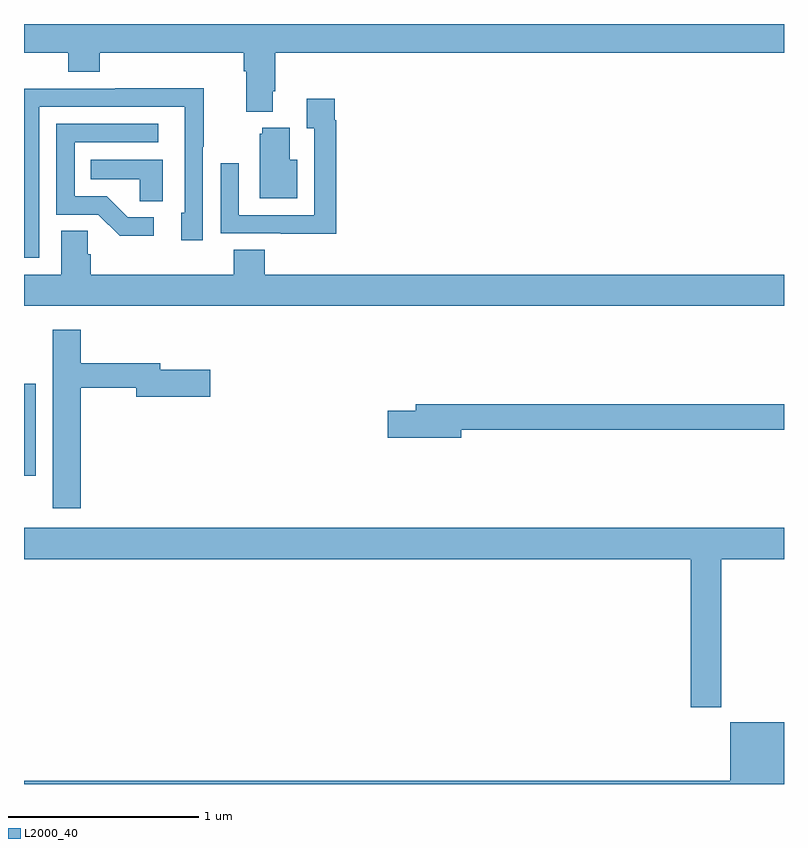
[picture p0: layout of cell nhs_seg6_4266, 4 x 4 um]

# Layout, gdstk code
import gdstk
lib = gdstk.Library(unit=1e-6, precision=1e-09)
def R(c, l, rs):  # rectangles x0, y0, x1, y1
    for r in rs: c.add(gdstk.rectangle(r[:2], r[2:], *l))
def P(c, l, *ps):  # polygons
    for p in ps: c.add(gdstk.Polygon(p, *l))
L2000_40 = (2000, 40)

nhs_seg6_4266 = lib.new_cell('nhs_seg6_4266')
R(nhs_seg6_4266, L2000_40, [(363,933.123,363.063,933.607)])
P(nhs_seg6_4266, L2000_40, [(364.309,935.146),(364.322,935.146),(364.322,935.348),(367,935.348),(367,935.5),(363,935.5),(363,935.348),(363.233,935.348),(363.233,935.249),(363.398,935.249),(363.398,935.348),(364.157,935.348),(364.157,935.252),(364.169,935.252),(364.169,935.039),(364.309,935.039)],
  [(363.081,935.064),(363.846,935.064),(363.846,934.506),(363.827,934.506),(363.827,934.362),(363.942,934.362),(363.942,934.855),(363.945,934.855),(363.945,935.162),(363.481,935.162),(363.481,935.16),(363,935.16),(363,934.269),(363.081,934.269)],
  [(364.643,934.994),(364.636,934.994),(364.636,935.107),(364.487,935.107),(364.487,934.951),(364.527,934.951),(364.527,934.494),(364.131,934.494),(364.131,934.768),(364.035,934.768),(364.035,934.398),(364.351,934.398),(364.351,934.397),(364.643,934.397)],
  [(363.682,934.482),(363.547,934.482),(363.436,934.593),(363.267,934.593),(363.267,934.878),(363.706,934.878),(363.706,934.974),(363.171,934.974),(363.171,934.497),(363.39,934.497),(363.503,934.385),(363.682,934.385)],
  [(364.438,934.786),(364.399,934.786),(364.399,934.954),(364.253,934.954),(364.253,934.923),(364.241,934.923),(364.241,934.583),(364.438,934.583)],
  [(363.73,934.786),(363.352,934.786),(363.352,934.682),(363.609,934.682),(363.609,934.567),(363.73,934.567)],
  [(367,934.18),(364.268,934.18),(364.268,934.313),(364.103,934.313),(364.103,934.18),(363.35,934.18),(363.35,934.289),(363.336,934.289),(363.336,934.412),(363.197,934.412),(363.197,934.18),(363,934.18),(363,934.016),(367,934.016)],
  [(363.299,933.586),(363.59,933.586),(363.59,933.539),(363.979,933.539),(363.979,933.681),(363.718,933.681),(363.718,933.715),(363.299,933.715),(363.299,933.892),(363.152,933.892),(363.152,932.952),(363.299,932.952)],
  [(365.302,933.364),(367,933.364),(367,933.5),(365.063,933.5),(365.063,933.464),(364.914,933.464),(364.914,933.322),(365.302,933.322)],
  [(366.669,932.684),(367,932.684),(367,932.848),(363,932.848),(363,932.684),(366.509,932.684),(366.509,931.905),(366.669,931.905)],
  [(367,931.825),(366.716,931.825),(366.716,931.516),(363,931.516),(363,931.5),(367,931.5)])

lib.write_gds('nhs_seg6_4266.gds')
